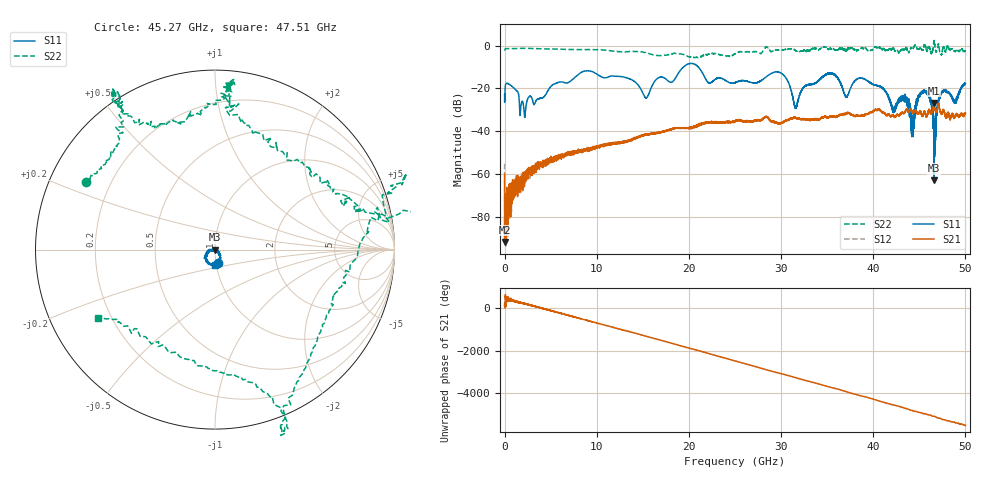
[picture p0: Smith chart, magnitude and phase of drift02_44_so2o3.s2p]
!Created with skrf (http://scikit-rf.org).
# Hz S RI R 50.0
!freq ReS11 ImS11 ReS21 ImS21 ReS12 ImS12 ReS22 ImS22
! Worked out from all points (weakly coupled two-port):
!   10001 points, 300 kHz to 50 GHz, reference 50 ohm
!   highest |S21| = -26.82 dB at 46.6 GHz (marker M1); lowest = -91.8 dB at 5.3 MHz (marker M2)
!   lowest |S11| = -63.0 dB at 46.6 GHz (marker M3), VSWR 1.00, Z = 50.1 - j0.0411 ohm
!   |S11| at or under -10 dB: start of sweep to 19.42 GHz; 21 GHz to end of sweep
!   |S22| runs from -5.7 to 2.4 dB; largest |S21 - S12| = 0.0032
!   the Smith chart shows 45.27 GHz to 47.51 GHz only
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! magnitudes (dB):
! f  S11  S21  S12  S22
! 300 kHz  -22.7  -60.2  -55.2  -2.0
! 5.3 MHz  -26.5  -91.8  -73.9  -2.1
! 260.3 MHz  -17.6  -74.6  -73.7  -1.4
! 2.19 GHz  -33.5  -61.5  -61.9  -1.3
! 8.335 GHz  -12.5  -49.7  -49.2  -1.9
! 15.34 GHz  -24.5  -41.4  -41.5  -3.3
! 16.67 GHz  -15.1  -40.9  -40.7  -4.7
! 20.3 GHz  -8.4  -38.6  -38.8  -5.5
! 25 GHz  -17.4  -35.7  -35.5  -3.8
! 29.86 GHz  -12.6  -36.4  -36.5  -2.0
! 31.59 GHz  -28.6  -33.7  -33.9  -2.4
! 33.34 GHz  -18.0  -34.4  -34.4  -1.6
! 35.6 GHz  -13.2  -33.3  -33.3  -1.6
! 37.1 GHz  -24.1  -31.8  -31.7  -2.3
! 38.76 GHz  -15.3  -32.7  -32.6  -0.9
! 41.67 GHz  -24.2  -32.2  -32.4  -1.9
! 43.43 GHz  -24.9  -31.1  -31.4  -1.9
! 44.25 GHz  -32.8  -31.0  -30.9  -1.4
! 45.69 GHz  -21.7  -32.2  -32.3  -0.6
! 46.6 GHz  -63.0  -26.8  -27.2  1.8
! 47.48 GHz  -21.9  -31.4  -31.8  -3.1
! 50 GHz  -17.7  -31.5  -31.6  -2.7
